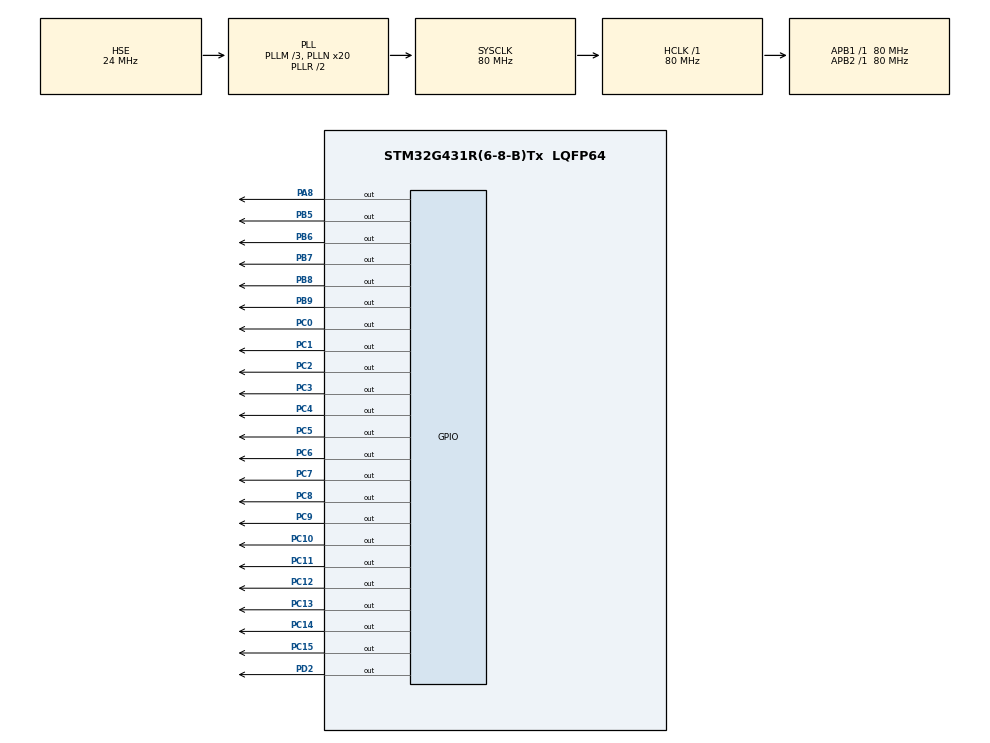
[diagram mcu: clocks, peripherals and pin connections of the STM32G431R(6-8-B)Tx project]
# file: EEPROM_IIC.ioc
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Mcu.Family=STM32G4
Mcu.Name=STM32G431R(6-8-B)Tx
Mcu.Package=LQFP64
NVIC.PriorityGroup=NVIC_PRIORITYGROUP_4
PA13.Mode=Serial_Wire
PA13.Signal=SYS_JTMS-SWDIO
PA14.Mode=Serial_Wire
PA14.Signal=SYS_JTCK-SWCLK
PA8.Signal=GPIO_Output
PB5.Signal=GPIO_Output
PB6.Signal=GPIO_Output
PB7.Signal=GPIO_Output
PB8-BOOT0.Signal=GPIO_Output
PB9.Signal=GPIO_Output
PC0.Signal=GPIO_Output
PC1.Signal=GPIO_Output
PC10.Signal=GPIO_Output
PC11.Signal=GPIO_Output
PC12.Signal=GPIO_Output
PC13.Signal=GPIO_Output
PC14-OSC32_IN.Signal=GPIO_Output
PC15-OSC32_OUT.Signal=GPIO_Output
PC2.Signal=GPIO_Output
PC3.Signal=GPIO_Output
PC4.Signal=GPIO_Output
PC5.Signal=GPIO_Output
PC6.Signal=GPIO_Output
PC7.Signal=GPIO_Output
PC8.Signal=GPIO_Output
PC9.Signal=GPIO_Output
PD2.Signal=GPIO_Output
PF0-OSC_IN.Mode=HSE-External-Oscillator
PF0-OSC_IN.Signal=RCC_OSC_IN
PF1-OSC_OUT.Mode=HSE-External-Oscillator
PF1-OSC_OUT.Signal=RCC_OSC_OUT
ProjectManager.HeapSize=0x200
ProjectManager.StackSize=0x400
ProjectManager.TargetToolchain=MDK-ARM V5.32
RCC.ADC12Freq_Value=80000000
RCC.AHBFreq_Value=80000000
RCC.APB1Freq_Value=80000000
RCC.APB1TimFreq_Value=80000000
RCC.APB2Freq_Value=80000000
RCC.APB2TimFreq_Value=80000000
RCC.CortexFreq_Value=80000000
RCC.EXTERNAL_CLOCK_VALUE=12288000
RCC.HCLKFreq_Value=80000000
RCC.HSE_VALUE=24000000
RCC.HSI48_VALUE=48000000
RCC.HSI_VALUE=16000000
RCC.LSE_VALUE=32768
RCC.PLLM=RCC_PLLM_DIV3
RCC.PLLN=20
RCC.PLLSourceVirtual=RCC_PLLSOURCE_HSE
RCC.SYSCLKFreq_VALUE=80000000
RCC.SYSCLKSource=RCC_SYSCLKSOURCE_PLLCLK
RCC.USBFreq_Value=80000000
RCC.VCOOutputFreq_Value=160000000
VP_SYS_VS_DBSignals.Mode=DisableDeadBatterySignals
board=custom

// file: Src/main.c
/* USER CODE BEGIN Header */
/**
  ******************************************************************************
  * @file           : main.c
  * @brief          : Main program body
  ******************************************************************************
  * @attention
  *
  * Copyright (c) 2025 STMicroelectronics.
  * All rights reserved.
  *
  * This software is licensed under terms that can be found in the LICENSE file
  * in the root directory of this software component.
  * If no LICENSE file comes with this software, it is provided AS-IS.
  *
  ******************************************************************************
  */
/* USER CODE END Header */
#include "main.h"
#include "gpio.h"

/* USER CODE BEGIN Includes */
#include "i2c - hal.h"
#include "eeprom.h"
#include "stdio.h"
#include "lcd.h"
/* USER CODE END Includes */

/* USER CODE BEGIN PTD */
uint8_t start_times=0;
char buf[5];
/* USER CODE END PTD */

void SystemClock_Config(void);

int main(void)
{

  /* MCU Configuration--------------------------------------------------------*/

  /* Reset of all peripherals, Initializes the Flash interface and the Systick. */
  HAL_Init();

  /* Configure the system clock */
  SystemClock_Config();

  /* Initialize all configured peripherals */
  MX_GPIO_Init();
  /* USER CODE BEGIN 2 */

      I2CInit() ;
			LCD_Init();
			LCD_Clear(Black);
			LCD_SetBackColor(Black);
			LCD_SetTextColor(White);
   	  start_times = e2prom_read(0x01);
      e2prom_write(0x01,start_times+1);

  /* USER CODE END 2 */

  /* Infinite loop */
  /* USER CODE BEGIN WHILE */
  while (1)
  {

		sprintf(buf,"    value:%d  ",start_times);
		LCD_DisplayStringLine(Line4,(uint8_t *)buf);
		HAL_GPIO_WritePin(GPIOD,GPIO_PIN_2,0);
		HAL_Delay(100);

    /* USER CODE END WHILE */

  }
}

void SystemClock_Config(void)
{
  RCC_OscInitTypeDef RCC_OscInitStruct = {0};
  RCC_ClkInitTypeDef RCC_ClkInitStruct = {0};

  /** Configure the main internal regulator output voltage
  */
  HAL_PWREx_ControlVoltageScaling(PWR_REGULATOR_VOLTAGE_SCALE1);

  /** Initializes the RCC Oscillators according to the specified parameters
  * in the RCC_OscInitTypeDef structure.
  */
  RCC_OscInitStruct.OscillatorType = RCC_OSCILLATORTYPE_HSE;
  RCC_OscInitStruct.HSEState = RCC_HSE_ON;
  RCC_OscInitStruct.PLL.PLLState = RCC_PLL_ON;
  RCC_OscInitStruct.PLL.PLLSource = RCC_PLLSOURCE_HSE;
  RCC_OscInitStruct.PLL.PLLM = RCC_PLLM_DIV3;
  RCC_OscInitStruct.PLL.PLLN = 20;
  RCC_OscInitStruct.PLL.PLLP = RCC_PLLP_DIV2;
  RCC_OscInitStruct.PLL.PLLQ = RCC_PLLQ_DIV2;
  RCC_OscInitStruct.PLL.PLLR = RCC_PLLR_DIV2;
  if (HAL_RCC_OscConfig(&RCC_OscInitStruct) != HAL_OK)
  {
    Error_Handler();
  }

  /** Initializes the CPU, AHB and APB buses clocks
  */
  RCC_ClkInitStruct.ClockType = RCC_CLOCKTYPE_HCLK|RCC_CLOCKTYPE_SYSCLK
                              |RCC_CLOCKTYPE_PCLK1|RCC_CLOCKTYPE_PCLK2;
  RCC_ClkInitStruct.SYSCLKSource = RCC_SYSCLKSOURCE_PLLCLK;
  RCC_ClkInitStruct.AHBCLKDivider = RCC_SYSCLK_DIV1;
  RCC_ClkInitStruct.APB1CLKDivider = RCC_HCLK_DIV1;
  RCC_ClkInitStruct.APB2CLKDivider = RCC_HCLK_DIV1;

  if (HAL_RCC_ClockConfig(&RCC_ClkInitStruct, FLASH_LATENCY_2) != HAL_OK)
  {
    Error_Handler();
  }
}

void Error_Handler(void)
{
  __disable_irq();
  while (1)
  {
  }
}
